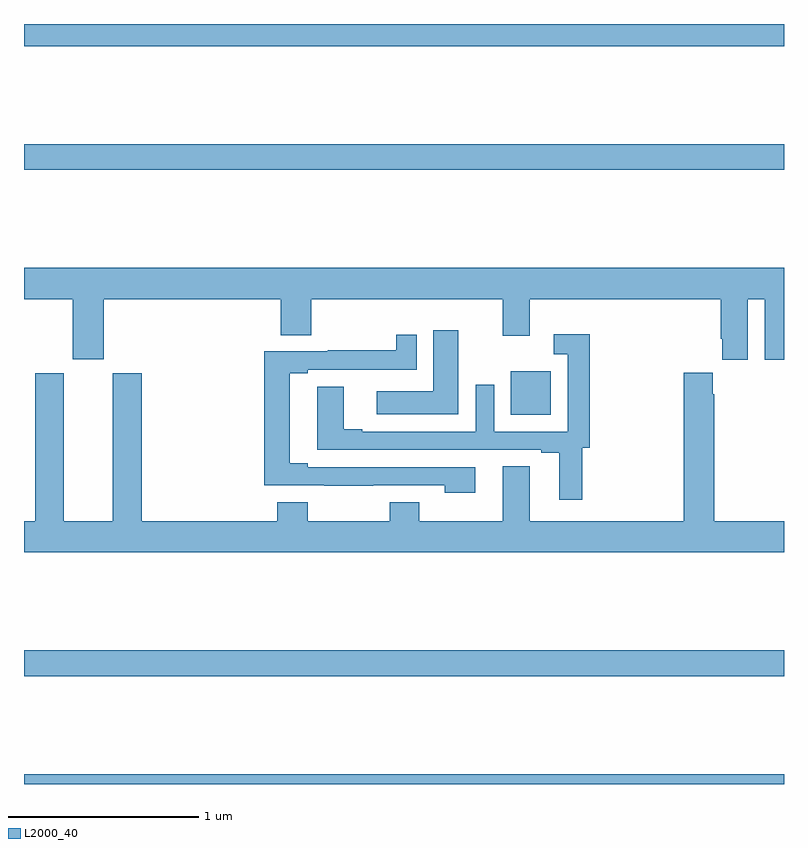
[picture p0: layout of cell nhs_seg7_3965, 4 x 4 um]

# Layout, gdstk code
import gdstk
lib = gdstk.Library(unit=1e-6, precision=1e-09)
def R(c, l, rs):  # rectangles x0, y0, x1, y1
    for r in rs: c.add(gdstk.rectangle(r[:2], r[2:], *l))
def P(c, l, *ps):  # polygons
    for p in ps: c.add(gdstk.Polygon(p, *l))
L2000_40 = (2000, 40)

nhs_seg7_3965 = lib.new_cell('nhs_seg7_3965')
R(nhs_seg7_3965, L2000_40, [(361,1062,365,1062.052), (361,1062.568,365,1062.704), (363.563,1063.943,363.772,1064.173), (361,1065.232,365,1065.368), (361,1065.884,365,1066)])
P(nhs_seg7_3965, L2000_40, [(361,1064.552),(361.256,1064.552),(361.256,1064.235),(361.42,1064.235),(361.42,1064.552),(362.351,1064.552),(362.351,1064.362),(362.511,1064.362),(362.511,1064.552),(363.521,1064.552),(363.521,1064.358),(363.661,1064.358),(363.661,1064.552),(364.667,1064.552),(364.667,1064.344),(364.676,1064.344),(364.676,1064.232),(364.81,1064.232),(364.81,1064.552),(364.898,1064.552),(364.898,1064.232),(365,1064.232),(365,1064.716),(361,1064.716)],
  [(363.286,1064.389),(363.155,1064.389),(363.155,1064.068),(362.856,1064.068),(362.856,1063.946),(363.286,1063.946)],
  [(363.937,1063.77),(363.977,1063.77),(363.977,1064.368),(363.789,1064.368),(363.789,1064.262),(363.861,1064.262),(363.861,1063.854),(363.474,1063.854),(363.474,1064.101),(363.378,1064.101),(363.378,1063.854),(362.779,1063.854),(362.779,1063.867),(362.683,1063.867),(362.683,1064.092),(362.543,1064.092),(362.543,1063.758),(363.722,1063.758),(363.722,1063.743),(363.818,1063.743),(363.818,1063.497),(363.937,1063.497)],
  [(363.376,1063.668),(362.494,1063.668),(362.494,1063.688),(362.398,1063.688),(362.398,1064.161),(362.494,1064.161),(362.494,1064.181),(363.066,1064.181),(363.066,1064.365),(362.958,1064.365),(362.958,1064.282),(362.599,1064.282),(362.599,1064.277),(362.264,1064.277),(362.264,1063.572),(362.581,1063.572),(362.581,1063.571),(362.837,1063.571),(362.837,1063.572),(363.215,1063.572),(363.215,1063.532),(363.376,1063.532)],
  [(365,1063.384),(364.632,1063.384),(364.632,1064.051),(364.625,1064.051),(364.625,1064.164),(364.472,1064.164),(364.472,1063.384),(363.661,1063.384),(363.661,1063.673),(363.521,1063.673),(363.521,1063.384),(363.081,1063.384),(363.081,1063.483),(362.926,1063.483),(362.926,1063.384),(362.493,1063.384),(362.493,1063.483),(362.333,1063.483),(362.333,1063.384),(361.619,1063.384),(361.619,1064.163),(361.466,1064.163),(361.466,1063.384),(361.21,1063.384),(361.21,1064.163),(361.058,1064.163),(361.058,1063.384),(361,1063.384),(361,1063.22),(365,1063.22)])

lib.write_gds('nhs_seg7_3965.gds')
